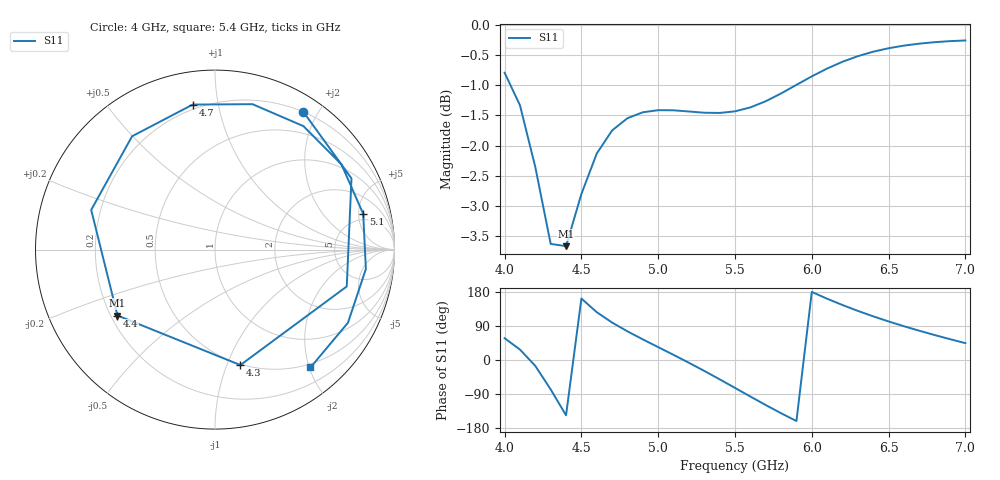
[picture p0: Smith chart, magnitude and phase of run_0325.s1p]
! Touchstone file exported from HFSS 2024.2.0
!  File:  C:/Users/wsak9/Desktop/Sim Fast/Widenad Patch/WP_AI_V1_sweep.aedt
!  Generated:  04:46:54 AM Oct 14, 2026
!  Design:  A1_model
!  Project:  WP_AI_V1_sweep
!  Setup:  Setup1
!  Solution:  Sweep
! Variables:
!  Air_gap = 4.89mm
!  Curve_Amp1 = 0.85
!  Curve_len1 = 1
!  Curve_pos = 12.91mm
!  Extra = 1.96mm
!  H_sub = 0.79mm
!  L_Patch = 21.82mm
!  L_Patch1 = 11.98mm
!  Sx = 2.96mm
!  Sy = 2.45mm
!  WS = 0.5mm
!  W_Patch = 12.3mm
!  W_Patch1 = 10.02mm
!Data is not renormalized
# GHz S MA
! Terminal data exported
! Port[1] = 1
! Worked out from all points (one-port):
!   31 points, 4 GHz to 7 GHz, reference per port
!   lowest |S11| = -3.7 dB at 4.4 GHz (marker M1), VSWR 4.81
!   |S11| at or under -10 dB: nowhere
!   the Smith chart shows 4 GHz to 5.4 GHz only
!   S11 on the Smith chart (normalised r, x): 4 GHz: 0.20, +1.81; 4.3 GHz: 0.49, -1.12; 4.4 GHz: 0.23, -0.29; 4.7 GHz: 0.17, +0.84; 5.1 GHz: 3.99, +5.69; 5.4 GHz: 0.44, -2.02
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4  0.9123 57.4
4.1  0.8576 27.5
4.2  0.7622 -15.6
4.3  0.6587 -77.6
4.4  0.6558 -145.9
4.5  0.7243 162.2
4.6  0.7824 126.2
4.7  0.8175 98.7
4.8  0.8367 75.5
4.9  0.8462 54.4
5  0.8496 33.9
5.1  0.8494 13.5
5.2  0.8475 -7.3
5.3  0.8455 -28.8
5.4  0.8451 -51.0
5.5  0.8477 -73.6
5.6  0.8541 -96.4
5.7  0.8642 -118.8
5.8  0.8771 -140.5
5.9  0.8915 -161.0
6  0.9061 179.7
6.1  0.9197 161.7
6.3  0.9416 129.6
6.4  0.9497 115.2
6.5  0.9559 101.8
6.7  0.9643 77.2
6.8  0.967 65.8
7  0.9702 44.5
